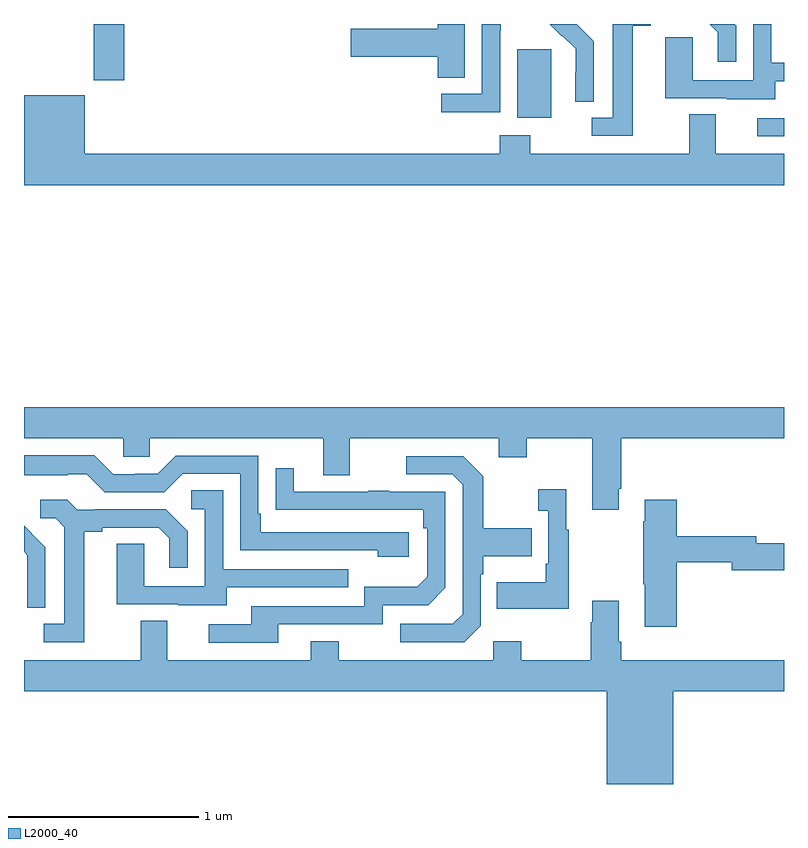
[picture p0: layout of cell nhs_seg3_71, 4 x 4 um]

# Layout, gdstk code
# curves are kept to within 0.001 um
import gdstk
lib = gdstk.Library(unit=1e-6, precision=1e-09)
def R(c, l, rs):  # rectangles x0, y0, x1, y1
    for r in rs: c.add(gdstk.rectangle(r[:2], r[2:], *l))
def P(c, l, *ps):  # polygons
    for p in ps: c.add(gdstk.Polygon(p, *l))
L2000_40 = (2000, 40)

nhs_seg3_71 = lib.new_cell('nhs_seg3_71')
R(nhs_seg3_71, L2000_40, [(116.859,731.808,117,731.904), (115.595,731.906,115.774,732.267), (113.368,732.105,113.528,732.4)])
P(nhs_seg3_71, L2000_40, [(115.998,732.31),(115.925,732.383),(115.926,732.384),(115.91,732.4),(115.766,732.4),(115.83,732.336),(115.833,732.339),(115.904,732.269),(115.904,732.146),(115.902,732.146),(115.902,731.992),(115.998,731.992)],
  [(115.506,732.364),(115.509,732.364),(115.509,732.4),(115.41,732.4),(115.41,732.033),(115.197,732.033),(115.197,731.935),(115.506,731.935)],
  [(116.953,732.099),(117,732.099),(117,732.195),(116.934,732.195),(116.934,732.4),(116.838,732.4),(116.838,732.105),(116.52,732.105),(116.52,732.329),(116.375,732.329),(116.375,732.009),(116.699,732.009),(116.699,732.005),(116.953,732.005)],
  [(116.748,732.394),(116.742,732.4),(116.608,732.4),(116.651,732.357),(116.651,732.201),(116.748,732.201)],
  [(116.203,732.392),(116.299,732.392),(116.299,732.4),(116.099,732.4),(116.099,731.907),(115.989,731.907),(115.989,731.811),(116.203,731.811)],
  [(115.321,732.4),(115.178,732.4),(115.178,732.374),(114.72,732.374),(114.72,732.227),(115.178,732.227),(115.178,732.118),(115.321,732.118)],
  [(117,731.716),(116.641,731.716),(116.641,731.924),(116.501,731.924),(116.501,731.716),(115.665,731.716),(115.665,731.815),(115.505,731.815),(115.505,731.716),(113.32,731.716),(113.32,732.025),(113,732.025),(113,731.552),(117,731.552)],
  [(116.131,729.955),(116.144,729.955),(116.144,730.22),(117,730.22),(117,730.384),(113,730.384),(113,730.22),(113.523,730.22),(113.523,730.122),(113.661,730.122),(113.661,730.22),(114.575,730.22),(114.575,730.026),(114.715,730.026),(114.715,730.22),(115.499,730.22),(115.499,730.121),(115.647,730.121),(115.647,730.22),(115.991,730.22),(115.991,729.843),(116.131,729.843)],
  [(115.024,729.726),(114.247,729.726),(114.247,729.823),(114.234,729.823),(114.234,730.128),(113.799,730.128),(113.703,730.032),(113.585,730.032),(113.585,730.029),(113.469,730.029),(113.369,730.129),(113,730.129),(113,730.025),(113.231,730.025),(113.231,730.029),(113.331,730.029),(113.424,729.936),(113.739,729.936),(113.835,730.032),(114.138,730.032),(114.138,729.63),(114.863,729.63),(114.863,729.596),(115.024,729.596)],
  [(115.404,729.234),(115.404,729.503),(115.417,729.503),(115.417,729.599),(115.673,729.599),(115.673,729.747),(115.417,729.747),(115.417,730.019),(115.311,730.125),(115.011,730.125),(115.011,730.029),(115.254,730.029),(115.308,729.975),(115.308,729.294),(115.257,729.243),(114.981,729.243),(114.981,729.147),(115.317,729.147)],
  [(114.337,729.24),(114.888,729.24),(114.888,729.342),(115.128,729.342),(115.218,729.432),(115.218,729.939),(114.923,729.939),(114.923,729.944),(114.811,729.944),(114.811,729.939),(114.421,729.939),(114.421,730.063),(114.325,730.063),(114.325,729.844),(115.102,729.843),(115.102,729.746),(115.122,729.746),(115.122,729.492),(115.069,729.439),(114.792,729.439),(114.792,729.336),(114.197,729.336),(114.197,729.24),(113.973,729.24),(113.973,729.144),(114.337,729.144)],
  [(115.867,729.739),(115.855,729.739),(115.855,729.952),(115.707,729.952),(115.707,729.839),(115.758,729.839),(115.758,729.559),(115.746,729.559),(115.746,729.463),(115.489,729.463),(115.489,729.323),(115.867,729.323)],
  [(114.067,729.435),(114.707,729.435),(114.707,729.531),(114.048,729.531),(114.048,729.947),(113.88,729.947),(113.88,729.846),(113.952,729.846),(113.952,729.441),(113.634,729.441),(113.634,729.665),(113.489,729.665),(113.489,729.345),(113.813,729.345),(113.813,729.341),(114.067,729.341)],
  [(116.435,729.568),(116.726,729.568),(116.726,729.526),(117,729.526),(117,729.668),(116.854,729.668),(116.854,729.704),(116.435,729.704),(116.435,729.895),(116.267,729.895),(116.267,729.782),(116.26,729.782),(116.26,729.451),(116.267,729.451),(116.267,729.228),(116.435,729.228)],
  [(113.317,729.728),(113.413,729.728),(113.413,729.75),(113.708,729.75),(113.765,729.693),(113.765,729.537),(113.862,729.537),(113.862,729.73),(113.746,729.846),(113.374,729.846),(113.374,729.843),(113.28,729.843),(113.228,729.895),(113.085,729.895),(113.085,729.798),(113.166,729.798),(113.213,729.751),(113.213,729.243),(113.103,729.243),(113.103,729.147),(113.317,729.147)],
  [(113.112,729.646),(113.039,729.719),(113.04,729.72),(113,729.76),(113,729.623),(113.018,729.605),(113.018,729.482),(113.016,729.482),(113.016,729.328),(113.112,729.328)],
  [(116.416,728.888),(117,728.888),(117,729.052),(116.144,729.052),(116.144,729.148),(116.131,729.148),(116.131,729.364),(115.991,729.364),(115.991,729.251),(115.984,729.251),(115.984,729.052),(115.617,729.052),(115.617,729.151),(115.47,729.151),(115.47,729.052),(114.657,729.052),(114.657,729.151),(114.509,729.151),(114.509,729.052),(113.755,729.052),(113.755,729.26),(113.615,729.26),(113.615,729.052),(113,729.052),(113,728.888),(116.066,728.888),(116.066,728.4),(116.416,728.4)])

lib.write_gds('nhs_seg3_71.gds')
